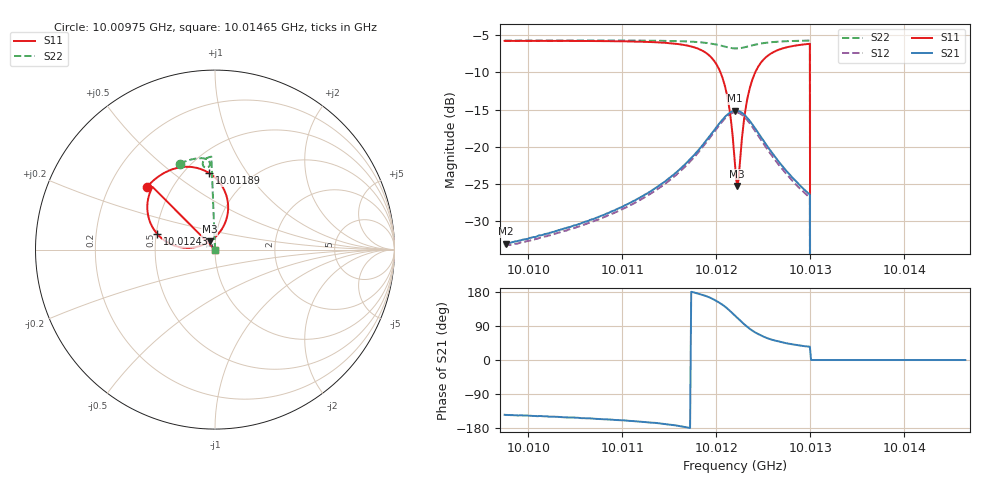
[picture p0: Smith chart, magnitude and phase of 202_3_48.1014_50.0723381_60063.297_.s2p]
#  HZ  S  RI  R  50.00
! Rohde & Schwarz Vector Network Analyzer
! Rohde-Schwarz,ZNB20-2Port,1311601062101988,3.16
! Created: UTC 12/23/2023, 3:54:52 AM
! freq[Hz]  re:S11  im:S11  re:S21  im:S21  re:S12  im:S12  re:S22  im:S22
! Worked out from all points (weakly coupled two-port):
!   401 points, 10.00975 GHz to 10.01465 GHz, reference 50 ohm
!   highest |S21| = -15.14 dB at 10.0122 GHz (marker M1); lowest = -33.0 dB at 10.00976 GHz (marker M2)
!   lowest |S11| = -25.3 dB at 10.01222 GHz (marker M3), VSWR 1.12, Z = 47 + j4.39 ohm
!   |S11| at or under -10 dB: 10.01204 GHz to 10.01241 GHz (369.2 kHz wide, 0.00369 % of centre); 10.01299 GHz to end of sweep
!   |S22| runs from - to -5.7 dB; largest |S21 - S12| = 0.0088
!   S11 on the Smith chart (normalised r, x): 10.00975 GHz: 0.36, +0.34; 10.01189 GHz: 0.66, +0.68; 10.01243 GHz: 0.51, +0.10; 10.01465 GHz: 1.00, +0.00
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1.0009748e10  -0.3794 0.3491  -0.0182 -0.0129  -0.0168 -0.0133  -0.1971 0.4796
1.000976e10  -0.3786 0.3499  -0.0182 -0.0128  -0.0169 -0.0133  -0.1964 0.4796
1.0010569e10  -0.3239 0.4004  -0.0275 -0.0137  -0.0258 -0.0146  -0.1452 0.4982
1.0011389e10  -0.2201 0.4531  -0.0533 -0.0122  -0.0507 -0.0144  -0.086 0.5093
1.0011671e10  -0.1416 0.4613  -0.0765 -0.00392  -0.0735 -0.00784  -0.0612 0.5081
1.0011892e10  -0.0323 0.426  -0.1079 0.0218  -0.1055 0.0157  -0.0389 0.4983
1.0012002e10  0.0383 0.3557  -0.1236 0.056  -0.1231 0.0482  -0.0296 0.4858
1.0012088e10  0.0729 0.25  -0.1238 0.0979  -0.1251 0.0902  -0.0288 0.4715
1.0012149e10  0.0574 0.151  -0.1063 0.1333  -0.1097 0.1254  -0.0347 0.4614
1.0012198e10  0.00768 0.0759  -0.0795 0.1558  -0.0839 0.1488  -0.0436 0.4566
1.0012222e10  -0.0286 0.0465  -0.0631 0.163  -0.0673 0.1564  -0.0487 0.4564
1.0012247e10  -0.0693 0.0253  -0.0461 0.1665  -0.0499 0.1604  -0.0538 0.4571
1.0012284e10  -0.1339 0.0103  -0.0207 0.1658  -0.0251 0.1599  -0.0604 0.4607
1.001232e10  -0.196 0.014  0.00266 0.1585  -0.00249 0.1532  -0.0652 0.4661
1.0012369e10  -0.2638 0.0396  0.0259 0.1428  0.0205 0.1382  -0.0681 0.4745
1.0012431e10  -0.3218 0.0872  0.0431 0.1204  0.0374 0.1167  -0.0678 0.4846
1.0012614e10  -0.3767 0.2194  0.0537 0.0686  0.0487 0.0672  -0.054 0.5042
1.001297e10  -0.3508 0.3441  0.04 0.0285  0.0366 0.0292  -0.0225 0.5174
1.0013019e10  0 0  0 0  0 0  0 0
1.0013031e10  0 0  0 0  0 0  0 0
1.0013839e10  0 0  0 0  0 0  0 0
1.0014648e10  0 0  0 0  0 0  0 0
